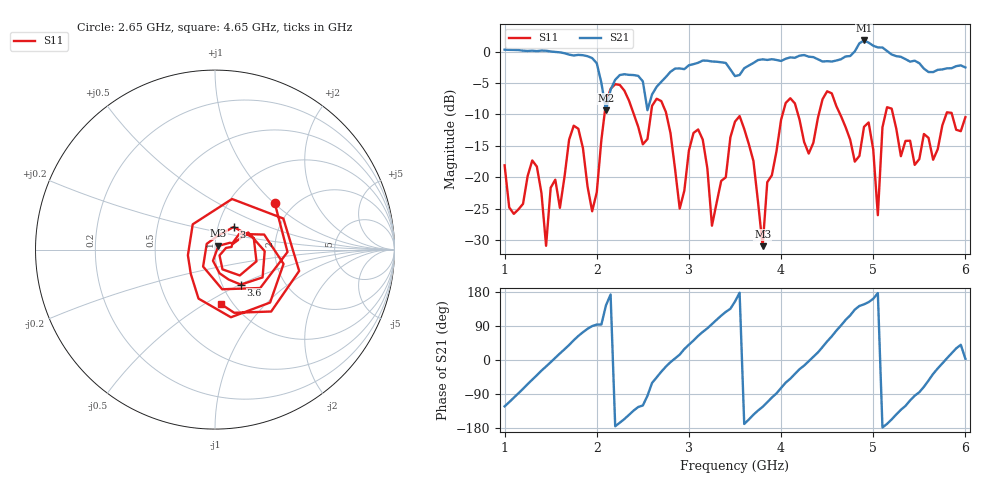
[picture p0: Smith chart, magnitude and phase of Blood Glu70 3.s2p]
! NanoVNA-App
! Date: 2024-03-20 22:13:55
! Start: 1GHz Stop: 6GHz Points: 101
! S-Parameter data: F S11 S21 S12 S22
# Hz S RI R 50
!	Frequency	S11_Real	S11_Imag	S21_Real	S21_Imag	S12_Real	S12_Imag	S22_Real	S22_Imag
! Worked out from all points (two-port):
!   101 points, 1 GHz to 6 GHz, reference 50 ohm
!   highest |S21| = 1.80 dB at 4.9 GHz (marker M1); lowest = -9.3 dB at 2.1 GHz (marker M2)
!   |S21| within 3 dB of the highest: start of sweep to 1.962 GHz; 4.649 GHz to 5.352 GHz (703.7 MHz wide, 14.1 % of centre)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
!   lowest |S11| = -31.0 dB at 3.8 GHz (marker M3), VSWR 1.06, Z = 51.9 + j2.18 ohm
!   |S11| at or under -10 dB: start of sweep to 2.084 GHz; 2.756 GHz to 4.016 GHz (1.26 GHz wide, 37.2 % of centre); 5.214 GHz to 5.792 GHz (577.3 MHz wide, 10.5 % of centre)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
!   S12 and S22 are empty: the file has one direction only
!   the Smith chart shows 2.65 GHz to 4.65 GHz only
!   S11 on the Smith chart (normalised r, x): 2.65 GHz: 1.61, +1.01; 3 GHz: 1.19, +0.31; 3.6 GHz: 1.22, -0.51; 4.65 GHz: 0.88, -0.60
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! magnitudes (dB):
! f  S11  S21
! 1 GHz  -18.1  0.3
! 1.35 GHz  -18.3  0.1
! 1.45 GHz  -30.9  0.2
! 1.85 GHz  -15.4  -0.6
! 1.95 GHz  -25.4  -1.0
! 2.1 GHz  -8.1  -9.3
! 2.65 GHz  -7.5  -5.6
! 2.7 GHz  -7.9  -4.8
! 2.9 GHz  -25.0  -2.7
! 3 GHz  -15.7  -2.2
! 3.15 GHz  -14.0  -1.4
! 3.25 GHz  -27.7  -1.6
! 3.5 GHz  -11.1  -3.9
! 3.6 GHz  -12.3  -2.6
! 3.8 GHz  -31.0  -1.2
! 4.05 GHz  -8.2  -1.1
! 4.35 GHz  -14.5  -0.9
! 4.65 GHz  -10.3  -1.2
! 4.9 GHz  -12.0  1.8
! 5.05 GHz  -26.1  0.7
! 5.2 GHz  -9.1  -0.4
! 6 GHz  -10.4  -2.5
